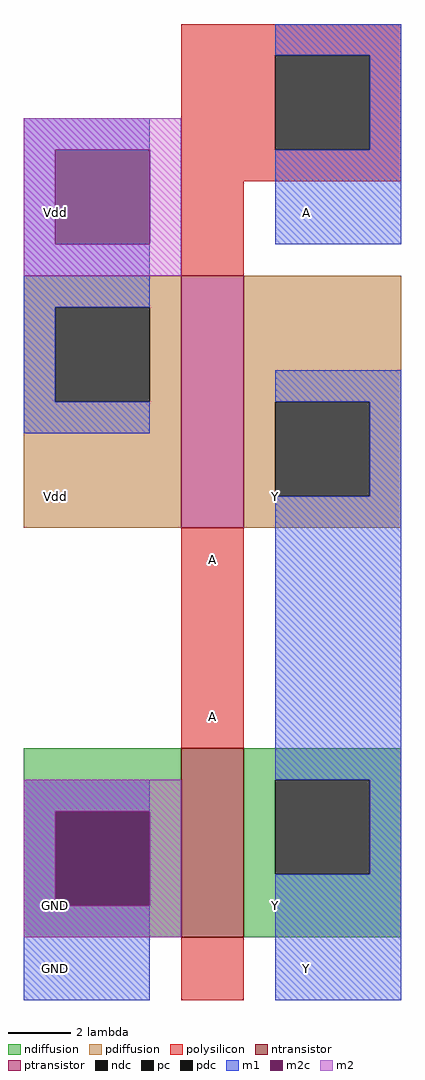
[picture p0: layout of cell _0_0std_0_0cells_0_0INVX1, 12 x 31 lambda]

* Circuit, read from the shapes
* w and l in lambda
.subckt _0_0std_0_0cells_0_0INVX1 A GND Vdd Y
M1 Y A GND VSUBS nfet w=6 l=2
M2 Y A Vdd NWELL pfet w=8 l=2
.ends

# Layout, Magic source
magic
tech sky130l
<< ndiffusion >>
rect 8 10 13 12
rect 8 7 9 10
rect 12 7 13 10
rect 8 6 13 7
rect 15 11 20 12
rect 15 8 16 11
rect 19 8 20 11
rect 15 6 20 8
<< ndc >>
rect 9 7 12 10
rect 16 8 19 11
<< ntransistor >>
rect 13 6 15 12
<< pdiffusion >>
rect 8 26 13 27
rect 8 23 9 26
rect 12 23 13 26
rect 8 19 13 23
rect 15 23 20 27
rect 15 20 16 23
rect 19 20 20 23
rect 15 19 20 20
<< pdc >>
rect 9 23 12 26
rect 16 20 19 23
<< ptransistor >>
rect 13 19 15 27
<< polysilicon >>
rect 13 34 20 35
rect 13 31 16 34
rect 19 31 20 34
rect 13 30 20 31
rect 13 27 15 30
rect 13 12 15 19
rect 13 4 15 6
<< pc >>
rect 16 31 19 34
<< m1 >>
rect 16 34 20 35
rect 8 31 12 32
rect 8 28 9 31
rect 19 31 20 34
rect 16 28 20 31
rect 8 26 12 28
rect 8 23 9 26
rect 8 22 12 23
rect 16 23 20 24
rect 19 20 20 23
rect 16 11 20 20
rect 8 10 12 11
rect 8 7 9 10
rect 8 4 12 7
rect 19 8 20 11
rect 16 4 20 8
<< m2c >>
rect 9 28 12 31
rect 9 7 12 10
<< m2 >>
rect 8 31 13 32
rect 8 28 9 31
rect 12 28 13 31
rect 8 27 13 28
rect 8 10 13 11
rect 8 7 9 10
rect 12 7 13 10
rect 8 6 13 7
<< labels >>
rlabel ndiffusion 16 7 16 7 3 Y
rlabel pdiffusion 16 20 16 20 3 Y
rlabel polysilicon 14 13 14 13 3 A
rlabel polysilicon 14 18 14 18 3 A
rlabel pdiffusion 9 20 9 20 3 Vdd
rlabel m1 17 5 17 5 3 Y
rlabel m1 9 5 9 5 3 GND
rlabel m1 17 29 17 29 3 A
rlabel m2 9 29 9 29 3 Vdd
rlabel m2 9 7 9 7 3 GND
<< end >>
